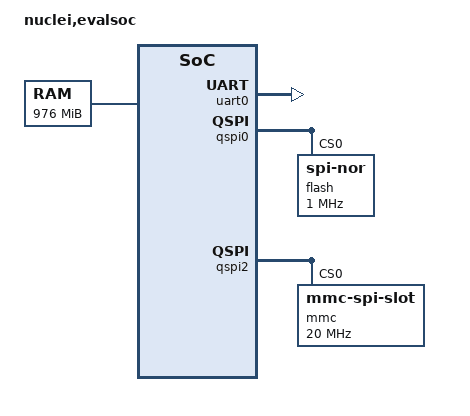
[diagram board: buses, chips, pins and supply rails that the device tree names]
/dts-v1/;

#ifndef SIMULATION
#define SIMULATION          0
#endif

#if SIMULATION == 2
#undef TIMERCLK_FREQ
#define TIMERCLK_FREQ       500000
#else
#ifndef TIMERCLK_FREQ
#define TIMERCLK_FREQ       32768
#endif
#endif

#ifndef CPUCLK_FREQ
#define CPUCLK_FREQ         100000000
#endif
#ifndef PERIPHCLK_FREQ
#define PERIPHCLK_FREQ      32000016
#endif

/ {
  #address-cells = <2>;
  #size-cells = <2>;
  compatible = "nuclei,evalsoc";
  model = "nuclei,evalsoc";
  dma-noncoherent;
  chosen {
#if SIMULATION == 2
      bootargs = "earlycon=sbi console=hvc0";
#else
      bootargs = "earlycon=sbi console=ttyNUC0";
#endif
      stdout-path = "serial0";
  };

  aliases {
    serial0 = &uart0;
    serial1 = &uart1;
  };

  cpus {
    #address-cells = <1>;
    #size-cells = <0>;
    timebase-frequency = <TIMERCLK_FREQ>;
    cpu0: cpu@0 {
      device_type = "cpu";
      reg = <0>;
      status = "okay";
      compatible = "riscv";
      riscv,isa = "rv64imafdc_zicbom_svpbmt";
      riscv,cbom-block-size =<64>;
      mmu-type = "riscv,sv39";
      clock-frequency = <CPUCLK_FREQ>;
      cpu0_intc: interrupt-controller {
        #interrupt-cells = <1>;
        interrupt-controller;
        compatible = "riscv,cpu-intc";
      };
    };
    cpu1: cpu@1 {
      device_type = "cpu";
      reg = <1>;
      status = "okay";
      compatible = "riscv";
      riscv,isa = "rv64imafdc_zicbom_svpbmt";
      riscv,cbom-block-size =<64>;
      mmu-type = "riscv,sv39";
      clock-frequency = <CPUCLK_FREQ>;
      cpu1_intc: interrupt-controller {
        #interrupt-cells = <1>;
        interrupt-controller;
        compatible = "riscv,cpu-intc";
      };
    };
    
  };

  memory@c1000000 {
    device_type = "memory";
    reg = <0x0 0xc1000000 0x0 0x3D000000>;
  };

  soc {
    #address-cells = <2>;
    #size-cells = <2>;
    compatible = "nuclei,evalsoc", "simple-bus";
    ranges;
  };

  /* Used for Uboot SBI Console */
  console {
    compatible = "sbi,console";
  };

  hfclk: hfclk {
    #clock-cells = <0>;
    compatible = "fixed-clock";
    clock-frequency = <PERIPHCLK_FREQ>;
    clock-output-names = "hfclk";
  };

  plic0: interrupt-controller@1c000000 {
    #interrupt-cells = <1>;
    compatible = "riscv,plic0";
    interrupt-controller;
    riscv,ndev = <64>;
    interrupts-extended =
          <&cpu0_intc 11 &cpu0_intc 9
           &cpu1_intc 11 &cpu1_intc 9 >;
    reg = <0x0 0x1c000000 0x0 0x4000000>;
  };

  clint0: clint@18031000 {
    #interrupt-cells = <1>;
    compatible = "riscv,clint0";
    reg = <0x0 0x18031000 0x0 0xC000>;
    interrupts-extended =
          <&cpu0_intc 3 &cpu0_intc 7
           &cpu1_intc 3 &cpu1_intc 7 >;
    clocks = <&hfclk>;
  };

  uart0: serial@4001000 {
    compatible = "nuclei,uart0";
    reg = <0x0 0x4001000 0x0 0x1000>;
    interrupt-parent = <&plic0>;
    interrupts = <3>;
    clocks = <&hfclk>;
    clock-frequency = <PERIPHCLK_FREQ>;
    status = "okay";
  };

  uart1: serial@96000000 {
    compatible = "nuclei,uart0";
    reg = <0x0 0x96000000 0x0 0x1000>;
    interrupt-parent = <&plic0>;
    interrupts = <34>;
    clocks = <&hfclk>;
    clock-frequency = <PERIPHCLK_FREQ>;
    status = "disabled";
  };

#if SIMULATION == 0
  qspi0: spi@14101000 {
    compatible = "nuclei,spi0";
    reg = <0x0 0x14101000 0x0 0x1000>;
    interrupt-parent = <&plic0>;
    interrupts = <6>;
    num-cs = <1>;
    #address-cells = <1>;
    #size-cells = <0>;
    clocks = <&hfclk>;
    status = "okay";

    flash@0 {
      compatible = "jedec,spi-nor";
      reg = <0>;
      spi-max-frequency = <1000000>;
      m25p,fast-read;
      spi-tx-bus-width = <1>;
      spi-rx-bus-width = <1>;
    };
  };

  qspi2: spi@14102000 {
    compatible = "nuclei,spi0";
    reg = <0x0 0x14102000 0x0 0x1000>;
    interrupt-parent = <&plic0>;
    interrupts = <7>;
    num-cs = <1>;
    #address-cells = <1>;
    #size-cells = <0>;
    clocks = <&hfclk>;
    status = "okay";

    mmc@0 {
      compatible = "mmc-spi-slot";
      reg = <0>;
      spi-max-frequency = <20000000>;
      voltage-ranges = <3300 3300>;
      disable-wp;
      spi-tx-bus-width = <1>;
      spi-rx-bus-width = <1>;
    };
  };
#endif
  mailbox: mailbox@8800000 {
    compatible = "nuclei,nuclei-mbox";
    reg = <0x0 0x8800000 0x0 0x3000>;
    interrupt-parent = <&plic0>;
    interrupts = <17>;
    #mbox-cells = <1>;
    status = "okay";
  };

  crypto {
    compatible = "nuclei,nuclei-crypto";
    mboxes = <&mailbox 0>;
    status = "okay";
  };

  firmware {
    optee {
      compatible = "linaro,optee-tz";
      method = "smc";
    };
  };

};
